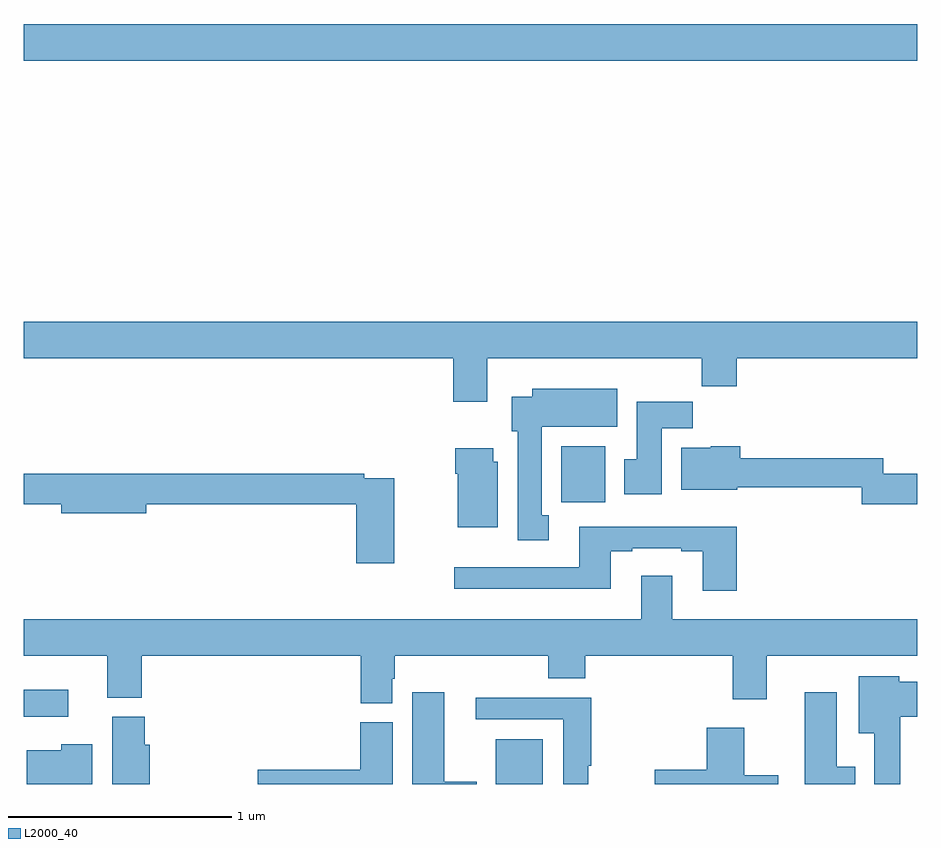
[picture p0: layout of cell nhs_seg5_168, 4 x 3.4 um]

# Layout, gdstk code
import gdstk
lib = gdstk.Library(unit=1e-6, precision=1e-09)
def R(c, l, rs):  # rectangles x0, y0, x1, y1
    for r in rs: c.add(gdstk.rectangle(r[:2], r[2:], *l))
def P(c, l, *ps):  # polygons
    for p in ps: c.add(gdstk.Polygon(p, *l))
L2000_40 = (2000, 40)

nhs_seg5_168 = lib.new_cell('nhs_seg5_168')
R(nhs_seg5_168, L2000_40, [(121.112,910.799,121.324,910.999), (119,911.099,119.2,911.221), (121.407,912.06,121.603,912.31), (119,914.036,123,914.2)])
P(nhs_seg5_168, L2000_40, [(121.075,912.704),(122.035,912.704),(122.035,912.58),(122.192,912.58),(122.192,912.704),(123,912.704),(123,912.868),(119,912.868),(119,912.704),(120.923,912.704),(120.923,912.51),(121.075,912.51)],
  [(121.351,912.001),(121.318,912.001),(121.318,912.398),(121.657,912.398),(121.657,912.568),(121.277,912.568),(121.277,912.532),(121.184,912.532),(121.184,912.378),(121.211,912.378),(121.211,911.889),(121.351,911.889)],
  [(121.855,912.392),(121.994,912.392),(121.994,912.51),(121.745,912.51),(121.745,912.252),(121.688,912.252),(121.688,912.096),(121.855,912.096)],
  [(123,912.188),(122.847,912.188),(122.847,912.256),(122.207,912.256),(122.207,912.31),(122.076,912.31),(122.076,912.304),(121.943,912.304),(121.943,912.116),(122.194,912.116),(122.194,912.127),(122.751,912.127),(122.751,912.052),(123,912.052)],
  [(121.123,912.24),(121.102,912.24),(121.102,912.301),(120.932,912.301),(120.932,912.188),(120.944,912.188),(120.944,911.948),(121.123,911.948)],
  [(120.658,912.168),(120.524,912.168),(120.524,912.188),(119,912.188),(119,912.052),(119.168,912.052),(119.168,912.01),(119.548,912.01),(119.548,912.052),(120.488,912.052),(120.488,911.787),(120.658,911.787)],
  [(122.192,911.95),(121.487,911.95),(121.487,911.769),(120.927,911.769),(120.927,911.672),(121.627,911.672),(121.627,911.841),(121.723,911.841),(121.723,911.853),(121.943,911.853),(121.943,911.841),(122.039,911.841),(122.039,911.664),(122.192,911.664)],
  [(120.649,911.271),(120.662,911.271),(120.662,911.372),(121.349,911.372),(121.349,911.273),(121.514,911.273),(121.514,911.372),(122.174,911.372),(122.174,911.178),(122.326,911.178),(122.326,911.372),(123,911.372),(123,911.536),(121.903,911.536),(121.903,911.731),(121.763,911.731),(121.763,911.536),(119,911.536),(119,911.372),(119.375,911.372),(119.375,911.185),(119.528,911.185),(119.528,911.372),(120.509,911.372),(120.509,911.161),(120.649,911.161)],
  [(122.923,911.099),(123,911.099),(123,911.257),(122.919,911.257),(122.919,911.281),(122.738,911.281),(122.738,911.027),(122.807,911.027),(122.807,910.799),(122.923,910.799)],
  [(121.027,910.81),(120.883,910.81),(120.883,911.209),(120.74,911.209),(120.74,910.799),(121.027,910.799)],
  [(122.722,910.876),(122.638,910.876),(122.638,911.209),(122.495,911.209),(122.495,910.799),(122.722,910.799)],
  [(121.528,910.881),(121.541,910.881),(121.541,911.186),(121.023,911.186),(121.023,911.088),(121.415,911.088),(121.415,910.799),(121.528,910.799)],
  [(119.564,910.974),(119.543,910.974),(119.543,911.1),(119.396,911.1),(119.396,910.799),(119.564,910.799)],
  [(120.652,911.076),(120.506,911.076),(120.506,910.862),(120.048,910.862),(120.048,910.799),(120.652,910.799)],
  [(122.377,910.839),(122.224,910.839),(122.224,911.05),(122.057,911.05),(122.057,910.862),(121.824,910.862),(121.824,910.799),(122.377,910.799)],
  [(119.308,910.978),(119.169,910.978),(119.169,910.951),(119.015,910.951),(119.015,910.799),(119.308,910.799)])

lib.write_gds('nhs_seg5_168.gds')
